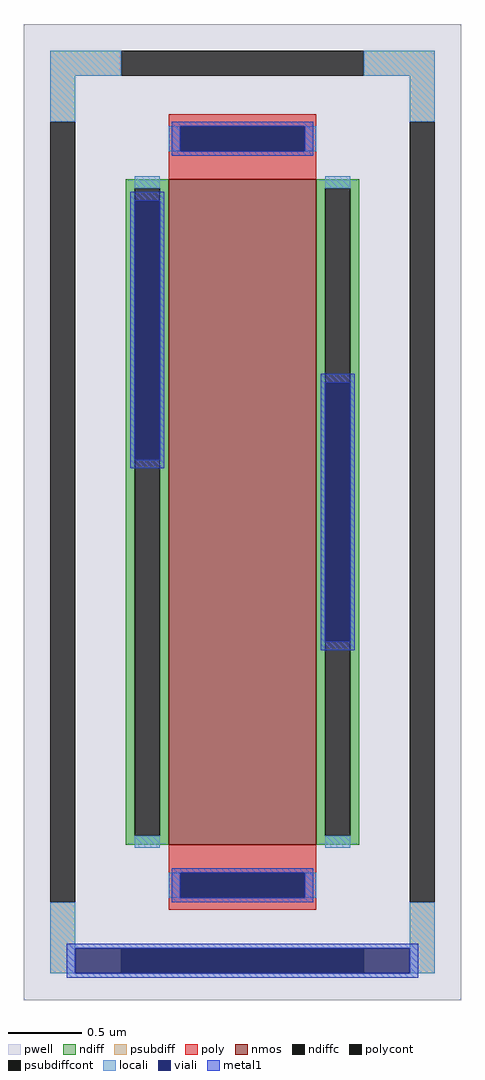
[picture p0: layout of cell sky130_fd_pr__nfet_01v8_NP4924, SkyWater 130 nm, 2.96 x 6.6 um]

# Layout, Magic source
magic
tech sky130A
magscale 1 2
<< pwell >>
rect -296 -660 296 660
<< nmos >>
rect -100 -450 100 450
<< ndiff >>
rect -158 438 -100 450
rect -158 -438 -146 438
rect -112 -438 -100 438
rect -158 -450 -100 -438
rect 100 438 158 450
rect 100 -438 112 438
rect 146 -438 158 438
rect 100 -450 158 -438
<< ndiffc >>
rect -146 -438 -112 438
rect 112 -438 146 438
<< psubdiff >>
rect -260 590 -164 624
rect 164 590 260 624
rect -260 528 -226 590
rect 226 528 260 590
rect -260 -590 -226 -528
rect 226 -590 260 -528
rect -260 -624 -164 -590
rect 164 -624 260 -590
<< psubdiffcont >>
rect -164 590 164 624
rect -260 -528 -226 528
rect 226 -528 260 528
rect -164 -624 164 -590
<< poly >>
rect -100 522 100 538
rect -100 488 -84 522
rect 84 488 100 522
rect -100 450 100 488
rect -100 -488 100 -450
rect -100 -522 -84 -488
rect 84 -522 100 -488
rect -100 -538 100 -522
<< polycont >>
rect -84 488 84 522
rect -84 -522 84 -488
<< locali >>
rect -260 590 -164 624
rect 164 590 260 624
rect -260 528 -226 590
rect 226 528 260 590
rect -100 488 -84 522
rect 84 488 100 522
rect -146 438 -112 454
rect -146 -454 -112 -438
rect 112 438 146 454
rect 112 -454 146 -438
rect -100 -522 -84 -488
rect 84 -522 100 -488
rect -260 -624 -226 -528
rect 226 -624 260 -528
<< viali >>
rect -84 488 84 522
rect -146 71 -112 421
rect 112 -175 146 175
rect -84 -522 84 -488
rect -226 -624 -164 -590
rect -164 -624 164 -590
rect 164 -624 226 -590
<< metal1 >>
rect -96 522 96 528
rect -96 488 -84 522
rect 84 488 96 522
rect -96 482 96 488
rect -152 421 -106 433
rect -152 71 -146 421
rect -112 71 -106 421
rect -152 59 -106 71
rect 106 175 152 187
rect 106 -175 112 175
rect 146 -175 152 175
rect 106 -187 152 -175
rect -96 -488 96 -482
rect -96 -522 -84 -488
rect 84 -522 96 -488
rect -96 -528 96 -522
rect -238 -590 238 -584
rect -238 -624 -226 -590
rect 226 -624 238 -590
rect -238 -630 238 -624
<< properties >>
string FIXED_BBOX -243 -607 243 607
string gencell sky130_fd_pr__nfet_01v8
string library sky130
string parameters w 4.5 l 1.0 m 1 nf 1 diffcov 100 polycov 100 guard 1 glc 1 grc 1 gtc 1 gbc 1 tbcov 100 rlcov 100 topc 1 botc 1 poverlap 0 doverlap 1 lmin 0.15 wmin 0.42 compatible {sky130_fd_pr__nfet_01v8 sky130_fd_pr__nfet_01v8_lvt  sky130_fd_bs_flash__special_sonosfet_star  sky130_fd_pr__nfet_g5v0d10v5 sky130_fd_pr__nfet_05v0_nvt  sky130_fd_pr__nfet_03v3_nvt} full_metal 1 viasrc 40 viadrn -40 viagate 100 viagb 100 viagr 0 viagl 0 viagt 0
<< end >>
